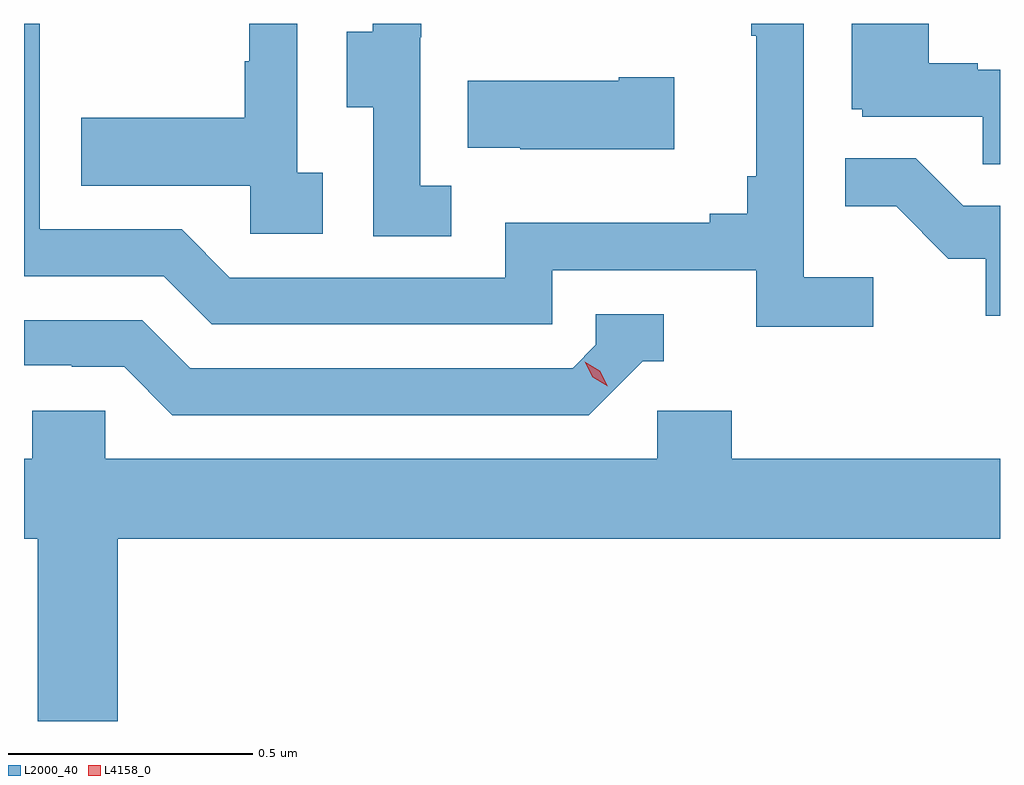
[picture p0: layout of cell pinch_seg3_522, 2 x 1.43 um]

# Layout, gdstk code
import gdstk
lib = gdstk.Library(unit=1e-6, precision=1e-09)
def P(c, l, *ps):  # polygons
    for p in ps: c.add(gdstk.Polygon(p, *l))
L2000_40 = (2000, 40)
L4158_0 = (4158, 0)

pinch_seg3_522 = lib.new_cell('pinch_seg3_522')
P(pinch_seg3_522, L2000_40, [(969.916,672.148),(969.774,672.148),(969.774,672.667),(969.666,672.667),(969.666,672.643),(969.677,672.643),(969.677,672.355),(969.658,672.355),(969.658,672.278),(969.581,672.278),(969.581,672.259),(969.162,672.259),(969.162,672.147),(968.598,672.147),(968.499,672.246),(968.208,672.246),(968.208,672.667),(968.176,672.667),(968.176,672.15),(968.462,672.15),(968.561,672.051),(969.258,672.051),(969.258,672.162),(969.677,672.162),(969.677,672.046),(969.916,672.046)],
  [(970.176,672.573),(970.13,672.573),(970.13,672.586),(970.03,672.586),(970.03,672.667),(969.872,672.667),(969.872,672.492),(969.894,672.492),(969.894,672.477),(970.141,672.477),(970.141,672.379),(970.176,672.379)],
  [(968.788,672.362),(968.736,672.362),(968.736,672.667),(968.638,672.667),(968.638,672.59),(968.628,672.59),(968.628,672.475),(968.293,672.475),(968.293,672.335),(968.64,672.335),(968.64,672.237),(968.788,672.237)],
  [(969.052,672.335),(968.988,672.335),(968.988,672.639),(968.99,672.639),(968.99,672.667),(968.891,672.667),(968.891,672.651),(968.837,672.651),(968.837,672.496),(968.892,672.496),(968.892,672.232),(969.052,672.232)],
  [(969.508,672.558),(969.395,672.558),(969.395,672.55),(969.085,672.55),(969.085,672.413),(969.193,672.413),(969.193,672.41),(969.508,672.41)],
  [(970.176,672.294),(970.101,672.294),(970.003,672.392),(969.859,672.392),(969.859,672.293),(969.963,672.293),(970.07,672.186),(970.147,672.186),(970.147,672.069),(970.176,672.069)],
  [(969.444,671.976),(969.487,671.976),(969.487,672.072),(969.348,672.072),(969.348,672.009),(969.3,671.961),(968.517,671.961),(968.418,672.06),(968.176,672.06),(968.176,671.967),(968.274,671.967),(968.274,671.964),(968.381,671.964),(968.48,671.865),(969.333,671.865)],
  [(968.368,671.612),(970.176,671.612),(970.176,671.776),(969.626,671.776),(969.626,671.874),(969.474,671.874),(969.474,671.776),(968.343,671.776),(968.343,671.874),(968.193,671.874),(968.193,671.776),(968.176,671.776),(968.176,671.612),(968.204,671.612),(968.204,671.238),(968.368,671.238)])
P(pinch_seg3_522, L4158_0, [(969.372,671.924),(969.341,671.943),(969.325,671.975),(969.325,671.975),(969.325,671.975),(969.356,671.956),(969.372,671.924),(969.372,671.924)])

lib.write_gds('pinch_seg3_522.gds')
